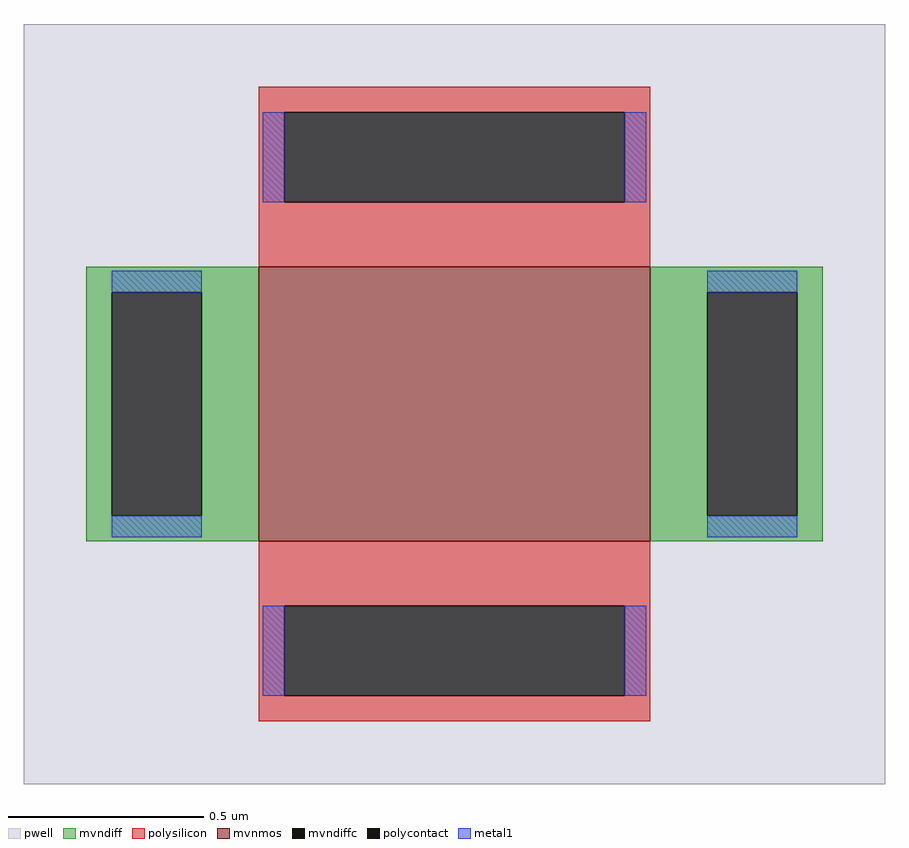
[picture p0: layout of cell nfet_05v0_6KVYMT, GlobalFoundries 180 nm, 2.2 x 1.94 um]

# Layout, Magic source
magic
tech gf180mcuD
magscale 1 10
<< pwell >>
rect -220 -194 220 194
<< mvnmos >>
rect -100 -70 100 70
<< mvndiff >>
rect -188 57 -100 70
rect -188 -57 -175 57
rect -129 -57 -100 57
rect -188 -70 -100 -57
rect 100 57 188 70
rect 100 -57 129 57
rect 175 -57 188 57
rect 100 -70 188 -57
<< mvndiffc >>
rect -175 -57 -129 57
rect 129 -57 175 57
<< polysilicon >>
rect -100 149 100 162
rect -100 103 -87 149
rect 87 103 100 149
rect -100 70 100 103
rect -100 -103 100 -70
rect -100 -149 -87 -103
rect 87 -149 100 -103
rect -100 -162 100 -149
<< polycontact >>
rect -87 103 87 149
rect -87 -149 87 -103
<< metal1 >>
rect -98 103 -87 149
rect 87 103 98 149
rect -175 57 -129 68
rect -175 -68 -129 -57
rect 129 57 175 68
rect 129 -68 175 -57
rect -98 -149 -87 -103
rect 87 -149 98 -103
<< properties >>
string gencell nfet_05v0
string library gf180mcu
string parameters w 0.7 l 1 m 1 nf 1 diffcov 100 polycov 100 guard 0 glc 0 grc 0 gtc 0 gbc 0 tbcov 100 rlcov 100 topc 0 botc 0 poverlap 1 doverlap 1 lmin 0.7 wmin 0.3 class mosfet full_metal 0 compatible {nfet_03v3 nfet_05v0 nfet_06v0 nfet_06v0_nvt}
<< end >>
